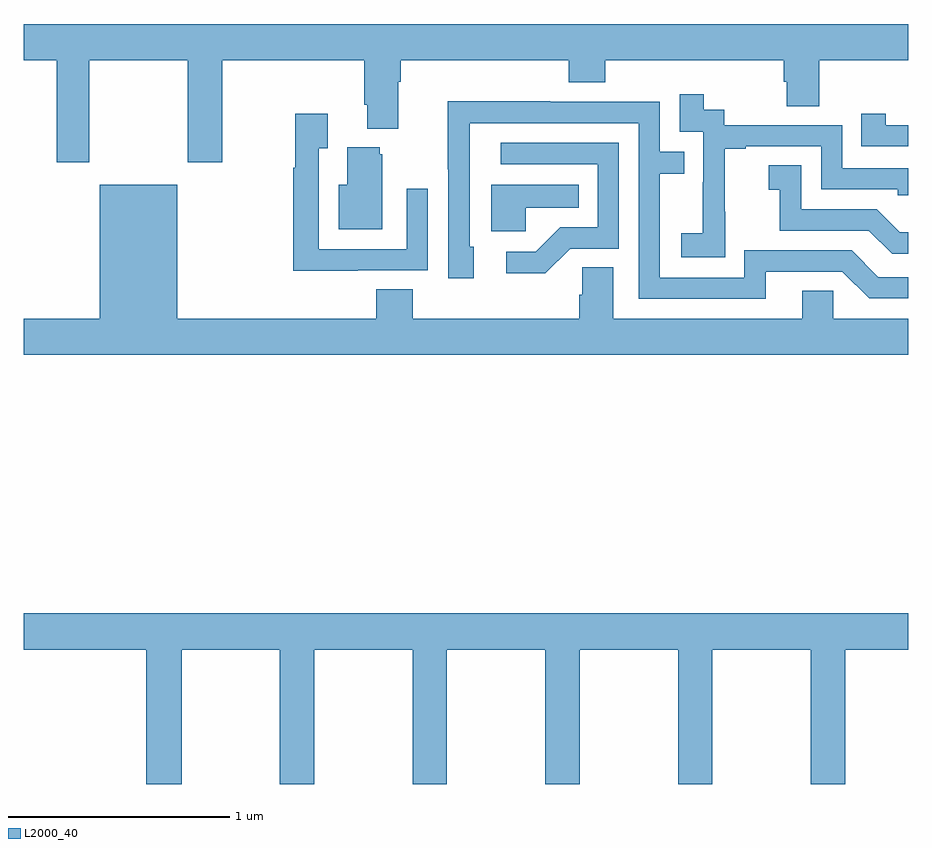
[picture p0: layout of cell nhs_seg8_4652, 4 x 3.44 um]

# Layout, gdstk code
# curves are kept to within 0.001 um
import gdstk
lib = gdstk.Library(unit=1e-6, precision=1e-09)
def P(c, l, *ps):  # polygons
    for p in ps: c.add(gdstk.Polygon(p, *l))
L2000_40 = (2000, 40)

nhs_seg8_4652 = lib.new_cell('nhs_seg8_4652')
P(nhs_seg8_4652, L2000_40, [(393,1111.172),(393.149,1111.172),(393.149,1110.711),(393.297,1110.711),(393.297,1111.172),(393.742,1111.172),(393.742,1110.711),(393.897,1110.711),(393.897,1111.172),(394.541,1111.172),(394.541,1110.97),(394.553,1110.97),(394.553,1110.863),(394.693,1110.863),(394.693,1111.076),(394.706,1111.076),(394.706,1111.172),(395.465,1111.172),(395.465,1111.073),(395.63,1111.073),(395.63,1111.172),(396.437,1111.172),(396.437,1111.074),(396.449,1111.074),(396.449,1110.964),(396.597,1110.964),(396.597,1111.172),(397,1111.172),(397,1111.336),(393,1111.336)],
  [(396.171,1110.487),(396.17,1110.487),(396.17,1110.771),(396.265,1110.771),(396.265,1110.783),(396.606,1110.783),(396.606,1110.588),(396.951,1110.588),(396.951,1110.561),(397,1110.561),(397,1110.684),(396.702,1110.684),(396.702,1110.879),(396.168,1110.879),(396.168,1110.948),(396.076,1110.948),(396.076,1111.018),(395.967,1111.018),(395.967,1110.849),(396.072,1110.849),(396.072,1110.62),(396.071,1110.62),(396.071,1110.391),(395.973,1110.391),(395.973,1110.281),(396.171,1110.281)],
  [(396.355,1110.216),(396.702,1110.216),(396.822,1110.096),(397,1110.096),(397,1110.192),(396.864,1110.192),(396.744,1110.312),(396.258,1110.312),(396.258,1110.189),(395.877,1110.189),(395.877,1110.658),(395.987,1110.658),(395.987,1110.759),(395.877,1110.759),(395.877,1110.984),(395.381,1110.984),(395.381,1110.986),(394.918,1110.986),(394.918,1110.679),(394.92,1110.679),(394.92,1110.186),(395.035,1110.186),(395.035,1110.33),(395.016,1110.33),(395.017,1110.888),(395.781,1110.888),(395.781,1110.093),(396.355,1110.093)],
  [(394.511,1110.222),(394.827,1110.222),(394.827,1110.592),(394.731,1110.592),(394.731,1110.318),(394.335,1110.318),(394.335,1110.775),(394.375,1110.775),(394.375,1110.931),(394.227,1110.931),(394.227,1110.686),(394.219,1110.686),(394.219,1110.221),(394.511,1110.221)],
  [(397,1110.879),(396.898,1110.879),(396.898,1110.931),(396.787,1110.931),(396.787,1110.783),(397,1110.783)],
  [(395.472,1110.321),(395.691,1110.321),(395.691,1110.798),(395.157,1110.798),(395.157,1110.702),(395.595,1110.702),(395.595,1110.417),(395.426,1110.417),(395.315,1110.306),(395.181,1110.306),(395.181,1110.209),(395.359,1110.209)],
  [(394.621,1110.747),(394.61,1110.747),(394.61,1110.778),(394.463,1110.778),(394.463,1110.61),(394.424,1110.61),(394.424,1110.407),(394.621,1110.407)],
  [(397,1110.394),(396.962,1110.394),(396.858,1110.498),(396.516,1110.498),(396.516,1110.697),(396.369,1110.697),(396.369,1110.587),(396.418,1110.587),(396.418,1110.402),(396.821,1110.402),(396.926,1110.297),(397,1110.297)],
  [(397,1110.004),(396.66,1110.004),(396.66,1110.131),(396.521,1110.131),(396.521,1110.004),(395.665,1110.004),(395.665,1110.236),(395.526,1110.236),(395.526,1110.113),(395.513,1110.113),(395.513,1110.004),(394.76,1110.004),(394.76,1110.137),(394.595,1110.137),(394.595,1110.004),(393.694,1110.004),(393.694,1110.61),(393.344,1110.61),(393.344,1110.004),(393,1110.004),(393,1109.84),(397,1109.84)],
  [(395.271,1110.506),(395.51,1110.506),(395.51,1110.61),(395.114,1110.61),(395.114,1110.398),(395.271,1110.398)],
  [(393.714,1108.508),(394.159,1108.508),(394.159,1107.9),(394.314,1107.9),(394.314,1108.508),(394.759,1108.508),(394.759,1107.9),(394.914,1107.9),(394.914,1108.508),(395.359,1108.508),(395.359,1107.9),(395.514,1107.9),(395.514,1108.508),(395.959,1108.508),(395.959,1107.9),(396.114,1107.9),(396.114,1108.508),(396.559,1108.508),(396.559,1107.9),(396.714,1107.9),(396.714,1108.508),(397,1108.508),(397,1108.672),(393,1108.672),(393,1108.508),(393.554,1108.508),(393.554,1107.9),(393.714,1107.9)])

lib.write_gds('nhs_seg8_4652.gds')
